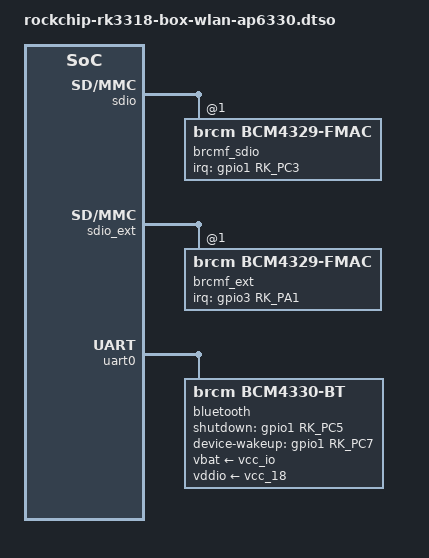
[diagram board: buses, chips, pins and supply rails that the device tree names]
/dts-v1/;
/plugin/;

#include <dt-bindings/gpio/gpio.h>
#include <dt-bindings/pinctrl/rockchip.h>
#include <dt-bindings/interrupt-controller/irq.h>

/ {

	fragment@0 {
		target = <&sdio>;
		__overlay__ {

			#address-cells = <1>;
			#size-cells = <0>;

			brcmf_sdio: wifi@1 {
				reg = <1>;
				compatible = "brcm,bcm4329-fmac";
				//brcm,drive-strength = <2>;
				interrupt-parent = <&gpio1>;
				interrupt-names = "host_wake";
				interrupts = <RK_PC3 IRQ_TYPE_LEVEL_LOW>;
				pinctrl-names = "default";
				pinctrl-0 = <&sdio_host_wake>;
			};

		};
	};

	fragment@1 {
		target = <&sdio_ext>;
		__overlay__ {

			#address-cells = <1>;
			#size-cells = <0>;

			brcmf_ext: wifi@1 {
				reg = <1>;
				compatible = "brcm,bcm4329-fmac";
				//brcm,drive-strength = <2>;
				interrupt-parent = <&gpio3>;
				interrupt-names = "host_wake";
				interrupts = <RK_PA1 IRQ_TYPE_LEVEL_LOW>;
				pinctrl-names = "default";
				pinctrl-0 = <&sdio_host_wake_ext>;
			};

		};
	};

	fragment@2 {
		target = <&uart0>;
		__overlay__ {

			pinctrl-names = "default";
			pinctrl-0 = <&uart0_xfer &uart0_rts &uart0_cts>;

			bluetooth {
				compatible = "brcm,bcm4330-bt";
				max-speed = <4000000>;
				shutdown-gpios = <&gpio1 RK_PC5 GPIO_ACTIVE_HIGH>;
				device-wakeup-gpios = <&gpio1 RK_PC7 GPIO_ACTIVE_HIGH>;
				//host-wakeup-gpios = <&gpio1 RK_PD2 GPIO_ACTIVE_HIGH>;
				vbat-supply = <&vcc_io>;
				vddio-supply = <&vcc_18>;
				pinctrl-names = "default";
				pinctrl-0 = <&bt_reg_on_h>, <&bt_host_wake_l>, <&bt_device_wake_l>;
				/*
				interrupt-names = "host-wakeup";
				interrupt-parent = <&gpio1>;
				interrupts = <RK_PD2 IRQ_TYPE_LEVEL_LOW>;
				*/
				brcm,bt-pcm-int-params = [01 02 00 01 01];
			};


		};

	};

	fragment@3 {
		target = <&pinctrl>;
		__overlay__ {

			bluetooth {


				bt_reg_on_h: bt-enable {
					rockchip,pins = <1 RK_PC5 0 &pcfg_pull_none>;
				};

				bt_device_wake_l: bt-device-wake {
					rockchip,pins = <1 RK_PC7 0 &pcfg_pull_none>;
				};

				bt_host_wake_l: bt-host-wake {
					rockchip,pins = <1 RK_PD2 0 &pcfg_pull_none>;
				};

			};

		};
	};

};
